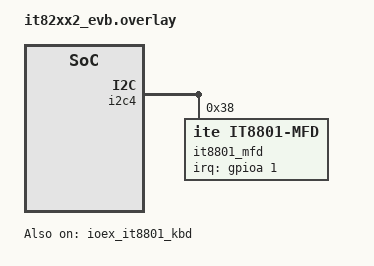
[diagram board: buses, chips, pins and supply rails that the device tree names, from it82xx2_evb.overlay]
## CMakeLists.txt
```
# SPDX-License-Identifier: Apache-2.0

cmake_minimum_required(VERSION 3.28.0)
find_package(Zephyr REQUIRED HINTS $ENV{ZEPHYR_BASE})
project(build_all)

FILE(GLOB app_sources src/*.c)
target_sources(app PRIVATE ${app_sources})
```

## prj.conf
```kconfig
CONFIG_GPIO=y
CONFIG_INPUT=y
CONFIG_SERIAL=y
CONFIG_UART_INTERRUPT_DRIVEN=y
CONFIG_UART_ASYNC_API=y
```

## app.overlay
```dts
/*
 * Copyright 2023 Google LLC
 *
 * SPDX-License-Identifier: Apache-2.0
 */

#include <zephyr/dt-bindings/input/input-event-codes.h>
#include <zephyr/dt-bindings/input/keymap.h>

/ {
	test {
		#address-cells = <1>;
		#size-cells = <1>;

		test_gpio: gpio@0 {
			compatible = "vnd,gpio";
			reg = <0x0 0x1000>;
			gpio-controller;
			#gpio-cells = <0x2>;
			status = "okay";
		};

		adc-keys {
			compatible = "adc-keys";
			io-channels = <&test_adc 0>;
			keyup-threshold-mv = <0>;

			button_0 {
				press-thresholds-mv = <1500>, <1750>;
				zephyr,code = <0>;
			};

			button_1 {
				press-thresholds-mv = <2500>, <1750>;
				zephyr,code = <1>;
			};
		};

		gpio-keys {
			compatible = "gpio-keys";
			debounce-interval-ms = <30>;

			button_0 {
				gpios = <&test_gpio 0 0>;
				zephyr,code = <0>;
			};
		};

		gpio-keys-polled {
			compatible = "gpio-keys";
			debounce-interval-ms = <30>;

			polling-mode;

			button_0 {
				gpios = <&test_gpio 0 0>;
				zephyr,code = <0>;
			};
		};

		vs1838b {
			compatible = "vishay,vs1838b";
			data-gpios = <&test_gpio 0 0>;
		};

		evdev {
			compatible = "zephyr,native-linux-evdev";
		};

		kbd-matrix-0 {
			compatible = "gpio-kbd-matrix";
			row-gpios = <&test_gpio 0 (GPIO_PULL_UP | GPIO_ACTIVE_LOW)>,
				    <&test_gpio 1 (GPIO_PULL_UP | GPIO_ACTIVE_LOW)>;
			col-gpios = <&test_gpio 2 GPIO_ACTIVE_LOW>,
				    <&test_gpio 3 GPIO_ACTIVE_LOW>,
				    <&test_gpio 4 GPIO_ACTIVE_LOW>;
			actual-key-mask = <0x0f 0x0a 0x0b>;

			keymap {
				compatible = "input-keymap";
				row-size = <2>;
				col-size = <2>;
				keymap = <MATRIX_KEY(0, 0, 0) MATRIX_KEY(0, 1, 1)
					  MATRIX_KEY(1, 0, 2)>;
			};
		};

		kbd-matrix-1 {
			compatible = "gpio-kbd-matrix";
			row-gpios = <&test_gpio 0 (GPIO_PULL_DOWN | GPIO_ACTIVE_HIGH)>,
				    <&test_gpio 1 (GPIO_PULL_DOWN | GPIO_ACTIVE_HIGH)>,
				    <&test_gpio 2 (GPIO_PULL_DOWN | GPIO_ACTIVE_HIGH)>;
			col-gpios = <&test_gpio 3 GPIO_ACTIVE_HIGH>,
				    <&test_gpio 4 GPIO_ACTIVE_HIGH>;
			col-drive-inactive;
			idle-mode = "poll";
		};

		kbd-matrix-2 {
			compatible = "gpio-kbd-matrix";
			row-gpios = <&test_gpio 0 (GPIO_PULL_DOWN | GPIO_ACTIVE_HIGH)>,
				    <&test_gpio 1 (GPIO_PULL_DOWN | GPIO_ACTIVE_HIGH)>,
				    <&test_gpio 2 (GPIO_PULL_DOWN | GPIO_ACTIVE_HIGH)>;
			col-gpios = <&test_gpio 3 GPIO_ACTIVE_HIGH>,
				    <&test_gpio 4 GPIO_ACTIVE_HIGH>;
			poll-timeout-ms = <0>;
			idle-mode = "scan";
		};

		qdec-gpio {
			compatible = "gpio-qdec";
			gpios = <&test_gpio 0 0>, <&test_gpio 1 0>;
			steps-per-period = <4>;
			sample-time-us = <2000>;
			idle-timeout-ms = <200>;
			zephyr,axis = <0>;
		};

		qdec-gpio-polled {
			compatible = "gpio-qdec";
			gpios = <&test_gpio 0 0>, <&test_gpio 1 0>;
			led-gpios = <&test_gpio 2 0>;
			led-pre-us = <5>;
			steps-per-period = <4>;
			sample-time-us = <2000>;
			idle-timeout-ms = <200>;
			idle-poll-time-us = <5000>;
			zephyr,axis = <0>;
		};

		analog_axis {
			compatible = "analog-axis";

			axis-x {
				io-channels = <&test_adc 0>;
				out-min = <(-127)>;
				out-max = <127>;
				in-deadzone = <8>;
				in-min = <(-100)>;
				in-max = <100>;
				invert-input;
				invert-output;
				zephyr,axis = <0>;
			};
		};

		longpress: longpress {
			compatible = "zephyr,input-longpress";
			input = <&longpress>;
			input-codes = <0>;
			short-codes = <0>;
			long-codes = <0>;
			long-delay-ms = <100>;
		};

		double_tap: doubletap {
			compatible = "zephyr,input-double-tap";
			input = <&double_tap>;
			input-codes = <0>;
			single-tap-codes = <0>;
			double-tap-codes = <0>;
			double-tap-delay-ms = <0>;
		};

		i2c@1 {
			compatible = "vnd,i2c";
			reg = <0x1 0x1000>;
			#address-cells = <1>;
			#size-cells = <0>;
			clock-frequency = <100000>;
			status = "okay";

			ft5336@0 {
				compatible = "focaltech,ft5336";
				reg = <0x0>;
				int-gpios = <&test_gpio 0 0>;
			};

			ft6146@0 {
				compatible = "focaltech,ft6146";
				reg = <0x0>;
				int-gpios = <&test_gpio 0 0>;
				reset-gpios = <&test_gpio 1 0>;
			};

			gt911@1 {
				compatible = "goodix,gt911";
				reg = <0x1>;
				irq-gpios = <&test_gpio 0 0>;
				reset-gpios = <&test_gpio 1 0>;
			};

			cst816s@2 {
				compatible = "hynitron,cst8xx";
				reg = <0x2>;
				irq-gpios = <&test_gpio 0 0>;
				rst-gpios = <&test_gpio 1 0>;
			};

			cap12xx@3 {
				compatible = "microchip,cap12xx";
				reg = <0x3>;
				int-gpios = <&test_gpio 0 0>;
				input-codes = <0 1 2>;
				sensor-gain = <1>;
				sensitivity-delta-sense = <32>;
				signal-guard = <0 0 0>;
				calib-sensitivity = <1 1 1>;
			};

			stmpe811@4 {
				compatible = "st,stmpe811";
				reg = <0x4>;
				int-gpios = <&test_gpio 0 0>;
				panel-driver-settling-time-us = <10>;
				touch-detect-delay-us = <10>;
				touch-average-control = <1>;
				tracking-index = <0>;
			};

			pat@5 {
				compatible = "pixart,pat912x";
				reg = <0x5>;
				motion-gpios = <&test_gpio 0 0>;
				res-x-cpi = <0>;
				res-y-cpi = <0>;
				invert-x;
				invert-y;
				sleep1-enable;
				sleep2-enable;
				zephyr,axis-x = <0>;
				zephyr,axis-y = <1>;
			};

			cf1133@6 {
				compatible = "sitronix,cf1133";
				reg = <0x6>;
				int-gpios = <&test_gpio 0 0>;
			};

			chsc6x@7 {
				compatible = "chipsemi,chsc6x";
				reg = <0x7>;
				irq-gpios = <&test_gpio 0 0>;
			};

			pinnacle@8 {
				compatible = "cirque,pinnacle";
				reg = <0x8>;
				data-ready-gpios = <&test_gpio 0 0>;
				data-mode = "relative";
				primary-tap-enable;
				swap-xy;
			};

			touch_dev: ili2132a@9 {
				compatible = "ilitek,ili2132a";
				reg = <0x9>;
				irq-gpios = <&test_gpio 0 0>;
				rst-gpios = <&test_gpio 1 0>;
			};

			nunchuk@a {
				compatible = "nintendo,nunchuk";
				reg = <0xa>;
			};

			cy8cmbr3xxx@b {
				compatible = "cypress,cy8cmbr3xxx";
				reg = <0xb>;
				int-gpios = <&test_gpio 0 (GPIO_PULL_UP | GPIO_ACTIVE_LOW)>;
				rst-gpios = <&test_gpio 1 (GPIO_PULL_UP | GPIO_ACTIVE_LOW)>;
				input-codes = <0 1 2 3 4 5 6 7>;
				proximity-codes = <8>;
				status = "okay";
			};

			chsc5x@c {
				compatible = "chipsemi,chsc5x";
				reg = <0xc>;
				int-gpios = <&test_gpio 0 0>;
				reset-gpios = <&test_gpio 1 0>;
			};

			tma525b@d {
				compatible = "parade,tma525b";
				reg = <0xd>;
				int-gpios = <&test_gpio 0 0>;
			};

			seesaw@e {
				compatible = "adafruit,seesaw-gamepad";
				reg = <0xe>;
			};

			modulino-buttons@f {
				compatible = "i2c-device";
				reg = <0xf>;

				modulino_buttons {
					compatible = "arduino,modulino-buttons";
					zephyr,codes = <0>, <1>, <2>;
				};
			};

			tsm12@10 {
				compatible = "adsemi,tsm12";
				reg = <0x10>;
				int-gpios = <&test_gpio 0 (GPIO_PULL_UP | GPIO_ACTIVE_LOW)>;
				input-codes = <0 1 2>;
				threshold-windows = "narrow", "wide", "narrow";
				threshold-midpoints = <3 0 7>;
			};

			axs5106l@11 {
				compatible = "chipsourcetek,axs5106l";
				reg = <0x11>;
				irq-gpios = <&test_gpio 0 0>;
				reset-gpios = <&test_gpio 1 0>;
			};
		};

		spi@2 {
			compatible = "vnd,spi";
			reg = <0x2 0x1000>;
			#address-cells = <1>;
			#size-cells = <0>;
			clock-frequency = <2000000>;

			/* one entry for every devices */
			cs-gpios = <&test_gpio 0 0>,
				   <&test_gpio 1 0>,
				   <&test_gpio 2 0>,
				   <&test_gpio 3 0>;
			status = "okay";

			xpt2046@0 {
				compatible = "xptek,xpt2046";
				reg = <0x0>;
				spi-max-frequency = <0>;
				int-gpios = <&test_gpio 0 0>;
				touchscreen-size-x = <10>;
				touchscreen-size-y = <10>;
				min-x = <0>;
				min-y = <0>;
				max-x = <1>;
				max-y = <1>;
			};

			pmw3610@1 {
				compatible = "pixart,pmw3610";
				reg = <0x1>;
				spi-max-frequency = <0>;
				motion-gpios = <&test_gpio 0 0>;
				reset-gpios = <&test_gpio 1 0>;
				invert-x;
				invert-y;
				force-awake;
				smart-mode;
				zephyr,axis-x = <0>;
				zephyr,axis-y = <1>;
			};

			pinnacle@2 {
				compatible = "cirque,pinnacle";
				reg = <0x2>;
				spi-max-frequency = <0>;
				data-ready-gpios = <&test_gpio 0 0>;
				data-mode = "absolute";
				idle-packets-count = <20>;
				clipping-enable;
				scaling-enable;
				invert-x;
				invert-y;
			};

			paw32xx@3 {
				compatible = "pixart,paw32xx";
				reg = <3>;
				spi-max-frequency = <0>;
				motion-gpios = <&test_gpio 0 0>;
				invert-x;
				invert-y;
				res-cpi = <800>;
				zephyr,axis-x = <0>;
				zephyr,axis-y = <1>;
			};
		};

		test_uart: uart@55556666 {
			compatible = "vnd,serial";
			reg = <0x55556666 0x1000>;

			#address-cells = <1>;
			#size-cells = <0>;
			status = "okay";

			sbus {
				compatible = "futaba,sbus";

				right_stick_x {
					channel = <1>;
					type = <INPUT_EV_ABS>;
					zephyr,code = <INPUT_ABS_RX>;
				};
			};

			usb_kb {
				compatible = "wch,ch9350l";
				status = "okay";
			};

			crsf {
				compatible = "tbs,crsf";

				right_stick_x {
					channel = <1>;
					type = <INPUT_EV_ABS>;
					zephyr,code = <INPUT_ABS_RX>;
				};
			};
		};

		test_adc: adc@adc0adc0 {
			compatible = "vnd,adc";
			reg = <0xadc0adc0 0x1000>;
			#io-channel-cells = <1>;
			#address-cells = <1>;
			#size-cells = <0>;
			status = "okay";

			channel@0 {
				reg = <0>;
				zephyr,gain = "ADC_GAIN_1";
				zephyr,reference = "ADC_REF_VDD_1";
				zephyr,acquisition-time = <ADC_ACQ_TIME_DEFAULT>;
			};
		};
	};
};
```

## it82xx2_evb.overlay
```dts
/*
 * Copyright (c) 2024 ITE Corporation. All Rights Reserved.
 *
 * SPDX-License-Identifier: Apache-2.0
 */

/delete-node/ &kbd;

&i2c4 {
	status = "okay";

	it8801_mfd: it8801@38 {
		compatible = "ite,it8801-mfd";
		reg = <0x38>;
		irq-gpios = <&gpioa 1 0>;
	};
};

#include <ite/it8801-common-cfg.dtsi>

&ioex_it8801_kbd {
	/* GP00, GP01, GP21, GP22, GP23 can be configured as alternate KSO pins */
	mfdctrl = <&kso18_gp01_default &kso20_gp23_default>;
	kso-mapping = <0 1 20 3 4 5 6 17 18 16 15 11 12>;
	row-size = <8>;
	col-size = <13>;
	status = "okay";
};
```

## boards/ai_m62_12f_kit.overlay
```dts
/*
 * Copyright (c) 2025 MASSDRIVER EI (massdriver.space)
 *
 * SPDX-License-Identifier: Apache-2.0
 */

&irx {
	ir-gpios = <&gpio0 20 GPIO_ACTIVE_HIGH>;
	protocol = "NEC";
	status = "okay";
};
```

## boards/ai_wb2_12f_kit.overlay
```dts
/*
 * Copyright (c) 2025 MASSDRIVER EI (massdriver.space)
 *
 * SPDX-License-Identifier: Apache-2.0
 */

&irx {
	ir-gpios = <&gpio0 11 GPIO_ACTIVE_HIGH>;
	protocol = "NEC";
	status = "okay";
};
```

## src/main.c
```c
/*
 * Copyright 2023 Google LLC
 *
 * SPDX-License-Identifier: Apache-2.0
 */

int main(void)
{
	return 0;
}
```
